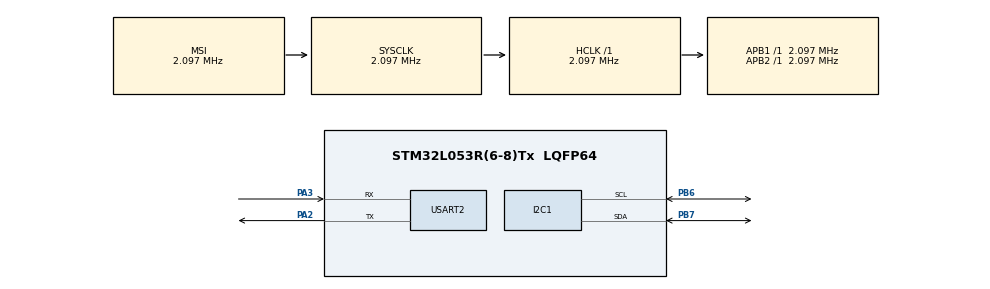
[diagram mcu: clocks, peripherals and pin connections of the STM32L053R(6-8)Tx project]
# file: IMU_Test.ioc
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I2C1.Speed=100
I2C1.Timing=0x00000708
Mcu.Family=STM32L0
Mcu.Name=STM32L053R(6-8)Tx
Mcu.Package=LQFP64
PA2.Mode=Asynchronous
PA2.Signal=USART2_TX
PA3.Mode=Asynchronous
PA3.Signal=USART2_RX
PB6.Mode=I2C
PB6.Signal=I2C1_SCL
PB7.Mode=I2C
PB7.Signal=I2C1_SDA
ProjectManager.HeapSize=0x200
ProjectManager.StackSize=0x400
ProjectManager.TargetToolchain=STM32CubeIDE
RCC.AHBFreq_Value=2097000
RCC.APB1Freq_Value=2097000
RCC.APB1TimFreq_Value=2097000
RCC.APB2Freq_Value=2097000
RCC.APB2TimFreq_Value=2097000
RCC.HSE_VALUE=8000000
RCC.HSI16_VALUE=16000000
RCC.HSI48_VALUE=48000000
RCC.HSI_VALUE=16000000
RCC.LSE_VALUE=32768
RCC.MSI_VALUE=2097000
RCC.SYSCLKFreq_VALUE=2097000
RCC.VCOOutputFreq_Value=48000000
USART2.VirtualMode-Asynchronous=VM_ASYNC
board=custom

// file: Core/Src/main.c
/* USER CODE BEGIN Header */
/**
 ******************************************************************************
 * @file           : main.c
 * @brief          : Main program body
 ******************************************************************************
 * @attention
 *
 * Copyright (c) 2022 STMicroelectronics.
 * All rights reserved.
 *
 * This software is licensed under terms that can be found in the LICENSE file
 * in the root directory of this software component.
 * If no LICENSE file comes with this software, it is provided AS-IS.
 *
 ******************************************************************************
 */
/* USER CODE END Header */
#include "main.h"

/* USER CODE BEGIN Includes */
#include "stdio.h"
#include "bmi160.h"
#include "bmi160_defs.h"
#include "stdio.h"
#include "stdbool.h"
#include "bmx160.h"
/* USER CODE END Includes */

/* USER CODE BEGIN PD */
//#define BMI160_DEV_ADDR (BMI160_I2C_ADDR)
/* USER CODE END PD */

/* USER CODE BEGIN PM */
/*! i2c interface communication, 1 - Enable; 0- Disable */
#define BMI160_INTERFACE_I2C  1

/*! spi interface communication, 1 - Enable; 0- Disable */
#define BMI160_INTERFACE_SPI  0

/*! bmi160 Device address */
#define BMI160_DEV_ADDR       BMI160_I2C_ADDR
/* USER CODE END PM */

I2C_HandleTypeDef hi2c1;

UART_HandleTypeDef huart2;
bmx160_dev bmx160dev;

uint16_t size = 0x1;
uint16_t memAddSize8 = I2C_MEMADD_SIZE_8BIT;
uint16_t memAddSize16 = I2C_MEMADD_SIZE_16BIT;
uint32_t trials = 50;
uint32_t timeout = 50;
uint8_t data_write;

void SystemClock_Config(void);
static void MX_GPIO_Init(void);
static void MX_I2C1_Init(void);
static void MX_USART2_UART_Init(void);
/* USER CODE BEGIN PFP */
#define PUTCHAR_PROTOTYPE int __io_putchar(int ch)
/* USER CODE END PFP */

int main(void) {

	/* MCU Configuration--------------------------------------------------------*/

	/* Reset of all peripherals, Initializes the Flash interface and the Systick. */
	HAL_Init();

	/* Configure the system clock */
	SystemClock_Config();

	/* Initialize all configured peripherals */
	MX_GPIO_Init();
	MX_I2C1_Init();
	MX_USART2_UART_Init();
	/* USER CODE BEGIN 2 */

	uint8_t rslt;
	rslt = bmx160_if_init(&bmx160dev, &hi2c1);
	if (rslt == BMX160_OK) {
		printf("\nBMX160 IF Init succesful\r");
		printf("\nDevice ID: 0x%02X\r", bmx160dev.chip_id);
	}
	rslt = bmx160_mag_init(&bmx160dev);
	if (rslt == BMX160_OK) {
		printf("\nBMX160 Mag Init succesful\r");
	}

	uint16_t mag_data_x_raw;
	uint16_t mag_data_y_raw;
	uint16_t mag_data_z_raw;
	int16_t mag_data_x = 0;
	int16_t mag_data_y = 0;
	int16_t mag_data_z = 0;
	int16_t mag_tot;
	int16_t angle;
	float_t xy_factor = 0.035;
	float_t z_factor = 0.076;
	int8_t mag_offset_x = 20;
	int8_t mag_offset_y = -20;

	/* USER CODE END 2 */

	/* Infinite loop */
	/* USER CODE BEGIN WHILE */
	while (1) {
		/*
		 // read temperature data:
		 uint16_t sens_temperature;
		 uint8_t data_read[2] = { 0, 0 };
		 HAL_I2C_Mem_Read(&hi2c1, (bmi160dev.id << 1), 0x20, memAddSize8,
		 &data_read[0], size, timeout);
		 HAL_I2C_Mem_Read(&hi2c1, (bmi160dev.id << 1), 0x21, memAddSize8,
		 &data_read[1], size, timeout);
		 sens_temperature = (data_read[1] << 8) | (data_read[0]);
		 printf("\nSensortemperatur: 0x%04X\r", sens_temperature);
		 */
		// test atan funktioniert so
		/*
		 int16_t number1 = 5;
		 int16_t number2 = 3;
		 float_t angle_test;
		 float_t angle_test_deg;
		 angle_test = atan2f(number2, number1);
		 angle_test_deg = angle_test * 180.0 / M_PI;
		 printf("\nAngle (rad): %f rad\r", angle_test);
		 printf("\nAngle (deg): %f rad\r", angle_test_deg);
		 */
		// read magnetometer data:
		bmx160_mag_read_data(&bmx160dev, &mag_data_x_raw, &mag_data_y_raw,
				&mag_data_z_raw);
		mag_data_x = (int16_t) (((int16_t) mag_data_x_raw * xy_factor)
				+ mag_offset_x);
		mag_data_y = (int16_t) (((int16_t) mag_data_y_raw * xy_factor)
				+ mag_offset_y);
		mag_data_z = (int16_t) ((int16_t) mag_data_z_raw * z_factor);

		mag_tot = sqrt(
				(mag_data_x * mag_data_x) + (mag_data_y * mag_data_y)
						+ (mag_data_z * mag_data_z));

		angle = atan2f(mag_data_x, mag_data_y) * (180.0 / M_PI);
		printf("\nMagnetometer (X,Y,Z): %d, %d, %d\r", mag_data_x, mag_data_y,
				mag_data_z);
		printf("\nTotal B-field: %d uT\r", mag_tot);
		printf("\nAngle: %d°\r", angle);

		// weiter mit Aufruf acc_read_data
		// rf, 11.05.2022 17:24

		// Magnetometer hat wahrscheinlich einen Offset, gem. DS bis zu +/-40uT
		//-> Kalibrierung notwendig
		HAL_Delay(1000);

		/* USER CODE END WHILE */
	}
}

void SystemClock_Config(void) {
	RCC_OscInitTypeDef RCC_OscInitStruct = { 0 };
	RCC_ClkInitTypeDef RCC_ClkInitStruct = { 0 };
	RCC_PeriphCLKInitTypeDef PeriphClkInit = { 0 };

	/** Configure the main internal regulator output voltage
	 */
	__HAL_PWR_VOLTAGESCALING_CONFIG(PWR_REGULATOR_VOLTAGE_SCALE1);

	/** Initializes the RCC Oscillators according to the specified parameters
	 * in the RCC_OscInitTypeDef structure.
	 */
	RCC_OscInitStruct.OscillatorType = RCC_OSCILLATORTYPE_MSI;
	RCC_OscInitStruct.MSIState = RCC_MSI_ON;
	RCC_OscInitStruct.MSICalibrationValue = 0;
	RCC_OscInitStruct.MSIClockRange = RCC_MSIRANGE_5;
	RCC_OscInitStruct.PLL.PLLState = RCC_PLL_NONE;
	if (HAL_RCC_OscConfig(&RCC_OscInitStruct) != HAL_OK) {
		Error_Handler();
	}

	/** Initializes the CPU, AHB and APB buses clocks
	 */
	RCC_ClkInitStruct.ClockType = RCC_CLOCKTYPE_HCLK | RCC_CLOCKTYPE_SYSCLK
			| RCC_CLOCKTYPE_PCLK1 | RCC_CLOCKTYPE_PCLK2;
	RCC_ClkInitStruct.SYSCLKSource = RCC_SYSCLKSOURCE_MSI;
	RCC_ClkInitStruct.AHBCLKDivider = RCC_SYSCLK_DIV1;
	RCC_ClkInitStruct.APB1CLKDivider = RCC_HCLK_DIV1;
	RCC_ClkInitStruct.APB2CLKDivider = RCC_HCLK_DIV1;

	if (HAL_RCC_ClockConfig(&RCC_ClkInitStruct, FLASH_LATENCY_0) != HAL_OK) {
		Error_Handler();
	}
	PeriphClkInit.PeriphClockSelection = RCC_PERIPHCLK_USART2
			| RCC_PERIPHCLK_I2C1;
	PeriphClkInit.Usart2ClockSelection = RCC_USART2CLKSOURCE_PCLK1;
	PeriphClkInit.I2c1ClockSelection = RCC_I2C1CLKSOURCE_PCLK1;
	if (HAL_RCCEx_PeriphCLKConfig(&PeriphClkInit) != HAL_OK) {
		Error_Handler();
	}
}

static void MX_I2C1_Init(void) {

	hi2c1.Instance = I2C1;
	hi2c1.Init.Timing = 0x00000708;
	hi2c1.Init.OwnAddress1 = 0;
	hi2c1.Init.AddressingMode = I2C_ADDRESSINGMODE_7BIT;
	hi2c1.Init.DualAddressMode = I2C_DUALADDRESS_DISABLE;
	hi2c1.Init.OwnAddress2 = 0;
	hi2c1.Init.OwnAddress2Masks = I2C_OA2_NOMASK;
	hi2c1.Init.GeneralCallMode = I2C_GENERALCALL_DISABLE;
	hi2c1.Init.NoStretchMode = I2C_NOSTRETCH_DISABLE;
	if (HAL_I2C_Init(&hi2c1) != HAL_OK) {
		Error_Handler();
	}

	/** Configure Analogue filter
	 */
	if (HAL_I2CEx_ConfigAnalogFilter(&hi2c1, I2C_ANALOGFILTER_ENABLE)
			!= HAL_OK) {
		Error_Handler();
	}

	/** Configure Digital filter
	 */
	if (HAL_I2CEx_ConfigDigitalFilter(&hi2c1, 0) != HAL_OK) {
		Error_Handler();
	}

}

static void MX_USART2_UART_Init(void) {

	huart2.Instance = USART2;
	huart2.Init.BaudRate = 115200;
	huart2.Init.WordLength = UART_WORDLENGTH_8B;
	huart2.Init.StopBits = UART_STOPBITS_1;
	huart2.Init.Parity = UART_PARITY_NONE;
	huart2.Init.Mode = UART_MODE_TX_RX;
	huart2.Init.HwFlowCtl = UART_HWCONTROL_NONE;
	huart2.Init.OverSampling = UART_OVERSAMPLING_16;
	huart2.Init.OneBitSampling = UART_ONE_BIT_SAMPLE_DISABLE;
	huart2.AdvancedInit.AdvFeatureInit = UART_ADVFEATURE_NO_INIT;
	if (HAL_UART_Init(&huart2) != HAL_OK) {
		Error_Handler();
	}

}

static void MX_GPIO_Init(void) {

	/* GPIO Ports Clock Enable */
	__HAL_RCC_GPIOA_CLK_ENABLE();
	__HAL_RCC_GPIOB_CLK_ENABLE();

}

/* USER CODE BEGIN 4 */
PUTCHAR_PROTOTYPE {
	/* Place your implementation of fputc here */
	/* e.g. write a character to the USART1 and Loop until the end of transmission */
	HAL_UART_Transmit(&huart2, (uint8_t*) &ch, 1, 0xFFFF);

	return ch;
}
/* USER CODE END 4 */

void Error_Handler(void) {
	__disable_irq();
	while (1) {
	}
}
